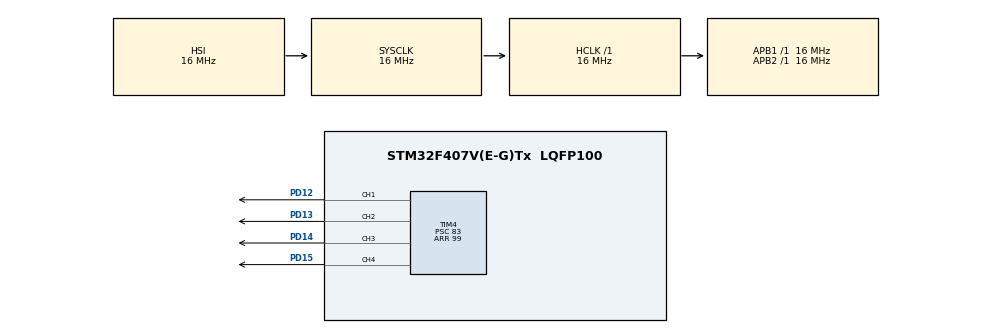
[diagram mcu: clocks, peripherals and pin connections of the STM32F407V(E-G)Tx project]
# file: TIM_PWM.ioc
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Mcu.Family=STM32F4
Mcu.Name=STM32F407V(E-G)Tx
Mcu.Package=LQFP100
NVIC.PriorityGroup=NVIC_PRIORITYGROUP_4
PD12.Signal=S_TIM4_CH1
PD13.Signal=S_TIM4_CH2
PD14.Signal=S_TIM4_CH3
PD15.Signal=S_TIM4_CH4
ProjectManager.HeapSize=0x200
ProjectManager.StackSize=0x400
ProjectManager.TargetToolchain=STM32CubeIDE
RCC.AHBFreq_Value=16000000
RCC.APB1Freq_Value=16000000
RCC.APB2Freq_Value=16000000
RCC.CortexFreq_Value=16000000
RCC.HSE_VALUE=25000000
RCC.HSI_VALUE=16000000
RCC.LSE_VALUE=32768
RCC.SYSCLKFreq_VALUE=16000000
RCC.VCOOutputFreq_Value=192000000
SH.S_TIM4_CH1.0=TIM4_CH1,PWM Generation1 CH1
SH.S_TIM4_CH2.0=TIM4_CH2,PWM Generation2 CH2
SH.S_TIM4_CH3.0=TIM4_CH3,PWM Generation3 CH3
SH.S_TIM4_CH4.0=TIM4_CH4,PWM Generation4 CH4
TIM4.Channel-PWM\ Generation1\ CH1=TIM_CHANNEL_1
TIM4.Channel-PWM\ Generation2\ CH2=TIM_CHANNEL_2
TIM4.Channel-PWM\ Generation3\ CH3=TIM_CHANNEL_3
TIM4.Channel-PWM\ Generation4\ CH4=TIM_CHANNEL_4
TIM4.Period=99
TIM4.Prescaler=83
VP_TIM4_VS_ClockSourceINT.Mode=Internal
board=custom

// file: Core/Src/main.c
/* USER CODE BEGIN Header */
/**
  ******************************************************************************
  * @file           : main.c
  * @brief          : Main program body
  ******************************************************************************
  * @attention
  *
  * <h2><center>&copy; Copyright (c) 2021 STMicroelectronics.
  * All rights reserved.</center></h2>
  *
  * This software component is licensed by ST under BSD 3-Clause license,
  * the "License"; You may not use this file except in compliance with the
  * License. You may obtain a copy of the License at:
  *                        opensource.org/licenses/BSD-3-Clause
  *
  ******************************************************************************
  */
/* USER CODE END Header */
#include "main.h"

TIM_HandleTypeDef htim4;

void SystemClock_Config(void);
static void MX_GPIO_Init(void);
static void MX_TIM4_Init(void);

int main(void)
{
  /* USER CODE BEGIN 1 */
	int i = 0;
  /* USER CODE END 1 */

  /* MCU Configuration--------------------------------------------------------*/

  /* Reset of all peripherals, Initializes the Flash interface and the Systick. */
  HAL_Init();

  /* Configure the system clock */
  SystemClock_Config();

  /* Initialize all configured peripherals */
  MX_GPIO_Init();
  MX_TIM4_Init();
  /* USER CODE BEGIN 2 */
  HAL_TIM_PWM_Start(&htim4, TIM_CHANNEL_1);
  HAL_TIM_PWM_Start(&htim4, TIM_CHANNEL_2);
  HAL_TIM_PWM_Start(&htim4, TIM_CHANNEL_3);
  HAL_TIM_PWM_Start(&htim4, TIM_CHANNEL_4);
  /* USER CODE END 2 */

  /* Infinite loop */
  while (1)
  {

    /* USER CODE BEGIN 3 */

	  for(i = 0; i<99; i++){

		  __HAL_TIM_SET_COMPARE(&htim4,TIM_CHANNEL_1,i);
		  __HAL_TIM_SET_COMPARE(&htim4,TIM_CHANNEL_2,i);
		  __HAL_TIM_SET_COMPARE(&htim4,TIM_CHANNEL_3,i);
		  __HAL_TIM_SET_COMPARE(&htim4,TIM_CHANNEL_4,i);
		  HAL_Delay(2);

	  }
	  for( i = 99; i >= 0; i--){

		  __HAL_TIM_SET_COMPARE(&htim4,TIM_CHANNEL_1,i);
		  __HAL_TIM_SET_COMPARE(&htim4,TIM_CHANNEL_2,i);
		  __HAL_TIM_SET_COMPARE(&htim4,TIM_CHANNEL_3,i);
		  __HAL_TIM_SET_COMPARE(&htim4,TIM_CHANNEL_4,i);
		  HAL_Delay(2);

	  }
  }
  /* USER CODE END 3 */
}

void SystemClock_Config(void)
{
  RCC_OscInitTypeDef RCC_OscInitStruct = {0};
  RCC_ClkInitTypeDef RCC_ClkInitStruct = {0};

  /** Configure the main internal regulator output voltage
  */
  __HAL_RCC_PWR_CLK_ENABLE();
  __HAL_PWR_VOLTAGESCALING_CONFIG(PWR_REGULATOR_VOLTAGE_SCALE1);
  /** Initializes the RCC Oscillators according to the specified parameters
  * in the RCC_OscInitTypeDef structure.
  */
  RCC_OscInitStruct.OscillatorType = RCC_OSCILLATORTYPE_HSI;
  RCC_OscInitStruct.HSIState = RCC_HSI_ON;
  RCC_OscInitStruct.HSICalibrationValue = RCC_HSICALIBRATION_DEFAULT;
  RCC_OscInitStruct.PLL.PLLState = RCC_PLL_NONE;
  if (HAL_RCC_OscConfig(&RCC_OscInitStruct) != HAL_OK)
  {
    Error_Handler();
  }
  /** Initializes the CPU, AHB and APB buses clocks
  */
  RCC_ClkInitStruct.ClockType = RCC_CLOCKTYPE_HCLK|RCC_CLOCKTYPE_SYSCLK
                              |RCC_CLOCKTYPE_PCLK1|RCC_CLOCKTYPE_PCLK2;
  RCC_ClkInitStruct.SYSCLKSource = RCC_SYSCLKSOURCE_HSI;
  RCC_ClkInitStruct.AHBCLKDivider = RCC_SYSCLK_DIV1;
  RCC_ClkInitStruct.APB1CLKDivider = RCC_HCLK_DIV1;
  RCC_ClkInitStruct.APB2CLKDivider = RCC_HCLK_DIV1;

  if (HAL_RCC_ClockConfig(&RCC_ClkInitStruct, FLASH_LATENCY_0) != HAL_OK)
  {
    Error_Handler();
  }
}

static void MX_TIM4_Init(void)
{

  TIM_ClockConfigTypeDef sClockSourceConfig = {0};
  TIM_MasterConfigTypeDef sMasterConfig = {0};
  TIM_OC_InitTypeDef sConfigOC = {0};

  htim4.Instance = TIM4;
  htim4.Init.Prescaler = 83;
  htim4.Init.CounterMode = TIM_COUNTERMODE_UP;
  htim4.Init.Period = 99;
  htim4.Init.ClockDivision = TIM_CLOCKDIVISION_DIV1;
  htim4.Init.AutoReloadPreload = TIM_AUTORELOAD_PRELOAD_DISABLE;
  if (HAL_TIM_Base_Init(&htim4) != HAL_OK)
  {
    Error_Handler();
  }
  sClockSourceConfig.ClockSource = TIM_CLOCKSOURCE_INTERNAL;
  if (HAL_TIM_ConfigClockSource(&htim4, &sClockSourceConfig) != HAL_OK)
  {
    Error_Handler();
  }
  if (HAL_TIM_PWM_Init(&htim4) != HAL_OK)
  {
    Error_Handler();
  }
  sMasterConfig.MasterOutputTrigger = TIM_TRGO_RESET;
  sMasterConfig.MasterSlaveMode = TIM_MASTERSLAVEMODE_DISABLE;
  if (HAL_TIMEx_MasterConfigSynchronization(&htim4, &sMasterConfig) != HAL_OK)
  {
    Error_Handler();
  }
  sConfigOC.OCMode = TIM_OCMODE_PWM1;
  sConfigOC.Pulse = 0;
  sConfigOC.OCPolarity = TIM_OCPOLARITY_HIGH;
  sConfigOC.OCFastMode = TIM_OCFAST_DISABLE;
  if (HAL_TIM_PWM_ConfigChannel(&htim4, &sConfigOC, TIM_CHANNEL_1) != HAL_OK)
  {
    Error_Handler();
  }
  if (HAL_TIM_PWM_ConfigChannel(&htim4, &sConfigOC, TIM_CHANNEL_2) != HAL_OK)
  {
    Error_Handler();
  }
  if (HAL_TIM_PWM_ConfigChannel(&htim4, &sConfigOC, TIM_CHANNEL_3) != HAL_OK)
  {
    Error_Handler();
  }
  if (HAL_TIM_PWM_ConfigChannel(&htim4, &sConfigOC, TIM_CHANNEL_4) != HAL_OK)
  {
    Error_Handler();
  }
  HAL_TIM_MspPostInit(&htim4);

}

static void MX_GPIO_Init(void)
{

  /* GPIO Ports Clock Enable */
  __HAL_RCC_GPIOD_CLK_ENABLE();

}

void Error_Handler(void)
{
  __disable_irq();
  while (1)
  {
  }
}

/************************ (C) COPYRIGHT STMicroelectronics *****END OF FILE****/
